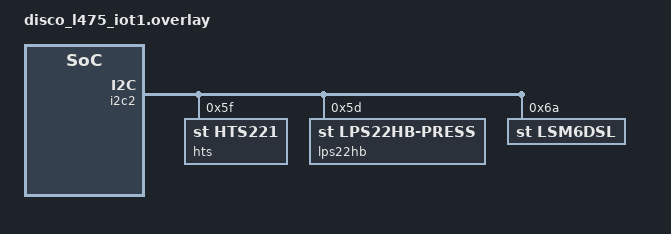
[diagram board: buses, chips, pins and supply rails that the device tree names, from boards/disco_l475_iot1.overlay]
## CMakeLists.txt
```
cmake_minimum_required(VERSION 3.20.0)
find_package(Zephyr REQUIRED HINTS $ENV{ZEPHYR_BASE})
project(msgq)

#include_directories(include)
target_sources(app PRIVATE src/main.c src/shell_threads.c src/fs_log.c src/htpg_sensors.c)
include_directories(include)
```

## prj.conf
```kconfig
CONFIG_MAIN_STACK_SIZE=8192

CONFIG_I2C=y
CONFIG_SENSOR=y
CONFIG_FPU=y
CONFIG_FPU_SHARING=y
CONFIG_PRINTK=y


CONFIG_CBPRINTF_FP_SUPPORT=y
CONFIG_LOG=y
CONFIG_LOG_MODE_DEFERRED=y
CONFIG_LOG_DEFAULT_LEVEL=3

CONFIG_SHELL=y

CONFIG_FLASH=y
CONFIG_FLASH_MAP=y
CONFIG_FILE_SYSTEM=y
CONFIG_FILE_SYSTEM_LITTLEFS=y
CONFIG_FILE_SYSTEM_SHELL=y
#CONFIG_DEBUG=y
#CONFIG_DEBUG_OPTIMIZATIONS=y     # -Og, keeps frames readable
#CONFIG_ASSERT=y
#CONFIG_THREAD_MONITOR=y
#CONFIG_THREAD_STACK_INFO=y
#CONFIG_INIT_STACKS=y
#CONFIG_THREAD_NAME=y

#CONFIG_PM=y
#CONFIG_PM_POLICY_DEFAULT=y
#CONFIG_TICKLESS_KERNEL=y
CONFIG_SERIAL=y
CONFIG_CONSOLE=y
CONFIG_UART_CONSOLE=y
CONFIG_LOG_BACKEND_UART=y


#CONFIG_SHELL_BACKEND_SERIAL=y
#CONFIG_UART_INTERRUPT_DRIVEN=y
```

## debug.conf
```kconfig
CONFIG_THREAD_MONITOR=y
CONFIG_THREAD_NAME=y
CONFIG_THREAD_STACK_INFO=y
```

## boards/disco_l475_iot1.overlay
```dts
/ {
        aliases {
                ht-sensor = &hts;
                pressure-sensor = &lps22hb;
                imu-sensor = &lsm6dsl;
        };
};
&flash0 {
        /delete-node/ partitions;

        partitions {
                compatible = "fixed-partitions";
                #address-cells = <1>;
                #size-cells = <1>;

                /* 0x00000000 .. 0x0000FFFF (64 KiB) */
                boot_partition: partition@0 {
                        label = "mcuboot";
                        reg = <0x00000000 0x00010000>;
                        read-only;
                };

                /* 0x00010000 .. 0x000EFFFF (832 KiB) */
                slot0_partition: partition@10000 {
                        label = "image-0";
                        reg = <0x00010000 0x000D0000>;
                };

                /* 0x000E0000 .. 0x000FFFFF (128 KiB) */
                app_lfs: partition@e0000 {
                        label = "app-lfs";
                        reg = <0x000E0000 0x00020000>;
                };
	};
};

&i2c2 {
        status = "okay";

        /* HTS221 @ 0x5F */
        hts: hts221@5f {
                compatible = "st,hts221";
                reg = <0x5f>;
                /* adjust to your actual DRDY pin if you want an IRQ */
                /* drdy-gpios = <&gpiod 15 GPIO_ACTIVE_HIGH>; */
                status = "okay";
        };

        /* LPS22HB @ 0x5D (some boards use 0x5C) */
        lps22hb: lps22hb-press@5d {
                compatible = "st,lps22hb-press";
                reg = <0x5d>;
                status = "okay";
        };
       /* LSM6DSL @ 0x6A (alt addr 0x6B) */
        lsm6dsl: lsm6dsl@6a {
                compatible = "st,lsm6dsl";
                reg = <0x6a>;
                /* irq-gpios = <&gpiod 11 GPIO_ACTIVE_HIGH>; */
                status = "okay";
        };
};


/* boards/<your_board>.overlay */

// / {
//	chosen {
//		zephyr,console = &usart1;
//		zephyr,shell-uart = &usart1;
//		zephyr,uart-mcumgr = &usart1;	/* if you use mcumgr */
//	};
//};

//&usart1 {
//	status = "okay";
//	current-speed = <115200>;
	/* your real pins here (PA9/PA10 are common on L4) */
//	pinctrl-0 = <&usart1_tx_pa9 &usart1_rx_pa10>;
//	pinctrl-names = "default";

	/* key bit: allow RX to wake the core from STOP */
//	wakeup-source;

	/* some STM32 families/instances also need an explicit EXTI line
	 * for STOP wake (only if your SoC binding requires it):
	 * wakeup-line = <5>;    // EXTI number example
	 */
//};
```

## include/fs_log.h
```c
#ifndef FS_LOG_H
#define FS_LOG_H

#include <zephyr/fs/fs.h>
#include <zephyr/fs/littlefs.h>
#include <zephyr/storage/flash_map.h>



void mount_sens();



#endif
```

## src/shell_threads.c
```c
/* shell_threads.c : independent periodic workers → msgq → 20s batched file writes
 *	- Each worker samples on its own interval and enqueues a preformatted line
 *	- Logger thread buffers queue items in RAM and appends them to LittleFS every 20 s
 */

#include "shell_threads.h"
#include <zephyr/kernel.h>
#include <zephyr/fs/fs.h>
#include <zephyr/fs/littlefs.h>
#include <zephyr/storage/flash_map.h>
#include <zephyr/logging/log.h>
#include <zephyr/shell/shell.h>
#include <string.h>
#include <stdbool.h>

LOG_MODULE_REGISTER(shell_threads);

/* ------------ config ------------ */
#define SENSOR_PATH			"/lfs/sensor.txt"

/* per-sensor sampling periods (tune as you like) */
#define HT_PERIOD_MS			2000		/* 2 s */
#define PRESS_PERIOD_MS			5000		/* 5 s */
#define IMU_PERIOD_MS			1000		/* 1 s */

/* batched file write period */
#define FLUSH_PERIOD_MS			20000		/* 20 s */

static k_tid_t                  hum_tid, press_tid, imu_tid, log_tid;
static struct k_thread          hum_thread_data, press_thread_data, imu_thread_data, log_thread_data;

static K_THREAD_STACK_DEFINE(hum_stack,   2048);
static K_THREAD_STACK_DEFINE(press_stack, 2048);
static K_THREAD_STACK_DEFINE(imu_stack,   2048);
static K_THREAD_STACK_DEFINE(log_stack,  2048);


/* ------------ semaphores (chain + control) ------------ */
K_SEM_DEFINE(semHT,     1, 1);          /* IMU -> HT */
K_SEM_DEFINE(semPress,  0, 1);          /* HT -> PRESS */
K_SEM_DEFINE(semGyro,   0, 1);          /* PRESS -> IMU */


/* ------------ shared data ------------ */
struct sensor_data {
        float           temp;
        float           hum;
        float           press;
        float           ax, ay, az;
        float           gx, gy, gz;
        bool            ht_ok;
        bool            press_ok;
        bool            imu_ok;
};
#define Q_DEPTH 30
K_MSGQ_DEFINE(msgq, 128, Q_DEPTH, 1);

static struct sensor_data       g_sd;
static struct k_mutex           g_sd_mtx;
/* parse helpers: your existing *_get_string() return formatted text.
 * Below we parse the few numbers we need. If you control those functions,
 * consider adding dedicated getters to avoid sscanf().
 */
static bool parse_ht(const char *s, float *t, float *h)
{
        /* expects: "Temperature: %.1f C, Humidity: %.1f %%\n" */
        return (sscanf(s, "Temperature: %f C, Humidity: %f %%", t, h) == 2);
}
static bool parse_press(const char *s, float *p)
{
        /* expects: "Pressure: %.1f kPa\n" */
        return (sscanf(s, "Pressure: %f", p) == 1);
}
static bool parse_imu(const char *s, float *ax, float *ay, float *az, float *gx, float *gy, float *gz)
{
        /* expects: "Accel: ax, ay, az | Gyro: gx, gy, gz\n" */
        return (sscanf(s, "Accel: %f, %f, %f | Gyro: %f, %f, %f", ax, ay, az, gx, gy, gz) == 6);
}
static inline void ts_now(uint32_t *sec, uint32_t *mms)
{
        uint64_t ms = k_uptime_get();
        *sec = (uint32_t)(ms / 1000U);
        *mms = (uint32_t)(ms % 1000U);
}

void hum_thread(void *a, void *b, void *c)
{
        char    buf[128];
	char 	out[128];
	uint32_t mms,sec;
		
        for (;;)
        {
                k_sem_take(&semHT, K_FOREVER);
		
		ts_now(&sec,&mms);
                bool    ok = false;
                if (hum_temp_sensor_get_string(buf, sizeof(buf)) > 0) {
                        float   t, h;
                        ok = parse_ht(buf, &t, &h);
			snprintf(out,sizeof(out),"[%lu.%03lu]:%s",sec,mms,buf);
                        if (ok) {
                                k_mutex_lock(&g_sd_mtx, K_FOREVER);
                                g_sd.temp = t;
                                g_sd.hum  = h;
                                g_sd.ht_ok = true;
				k_msgq_put(&msgq,out,K_FOREVER);
                                k_mutex_unlock(&g_sd_mtx);
                        }
                }
               if (!ok) {
                        k_mutex_lock(&g_sd_mtx, K_FOREVER);
                        g_sd.ht_ok = false;
			LOG_ERR("HT read failed!");
                        k_mutex_unlock(&g_sd_mtx);
                }

                k_sem_give(&semPress);
		k_msleep(HT_PERIOD_MS);
        }
}

void press_thread(void *a, void *b, void *c)
{
        char    buf[128];
	char 	out[128];

	uint32_t mms,sec;
        for (;;)
        {
                k_sem_take(&semPress, K_FOREVER);

		ts_now(&sec,&mms);
                bool    ok = false;
                if (pressure_sensor_get_string(buf, sizeof(buf)) > 0) {
                        float   p;
                        ok = parse_press(buf, &p);
			snprintf(out,sizeof(out),"[%lu.%03lu]:%s",sec,mms,buf);
                        if (ok) {
                                k_mutex_lock(&g_sd_mtx, K_FOREVER);
                                g_sd.press = p;
                                g_sd.press_ok = true;
				k_msgq_put(&msgq,out,K_FOREVER);
                                k_mutex_unlock(&g_sd_mtx);
                        }
                }
	        if (!ok) {
                k_mutex_lock(&g_sd_mtx, K_FOREVER);
                g_sd.press_ok = false;
		LOG_ERR("Press read failed!");
                k_mutex_unlock(&g_sd_mtx);
                }

                k_sem_give(&semGyro);
		k_msleep(PRESS_PERIOD_MS);
        }
}
void imu_thread(void *a, void *b, void *c)
{
        char    buf[128];
	char 	out[128];
	
	uint32_t mms,sec;

        for (;;)
        {
                k_sem_take(&semGyro, K_FOREVER);

		ts_now(&sec,&mms);
                bool    ok = false;
                if (imu_sensor_get_string(buf, sizeof(buf)) > 0) {
                        float   ax, ay, az, gx, gy, gz;
                        ok = parse_imu(buf, &ax, &ay, &az, &gx, &gy, &gz);
			snprintf(out,sizeof(out),"[%lu.%03lu]:%s",sec,mms,buf);
                        if (ok) {
                                k_mutex_lock(&g_sd_mtx, K_FOREVER);
                                g_sd.ax = ax; g_sd.ay = ay; g_sd.az = az;
                                g_sd.gx = gx; g_sd.gy = gy; g_sd.gz = gz;
                                g_sd.imu_ok = true;
				k_msgq_put(&msgq,out,K_FOREVER);
                                k_mutex_unlock(&g_sd_mtx);
                        }
                }

                if (!ok) {
                        k_mutex_lock(&g_sd_mtx, K_FOREVER);
                        g_sd.imu_ok = false;
			LOG_ERR("Imu read failed!");
                        k_mutex_unlock(&g_sd_mtx);
                }
                k_sem_give(&semHT);
		k_msleep(IMU_PERIOD_MS);
        }
}
void log_thread(void *a, void *b, void *c)
{
	struct fs_file_t        file;
	char 			line[128];
	size_t 			n;
	uint32_t 		sec, mms; 
	uint32_t		message_num;	
	ts_now(&sec, &mms);

	for(;;)
	{
		k_msleep(FLUSH_PERIOD_MS);
		k_mutex_lock(&g_sd_mtx,K_FOREVER);

		while((message_num=k_msgq_num_used_get(&msgq))>0)
		{
			fs_file_t_init(&file);
			k_msgq_get(&msgq,&line,K_FOREVER);
			n=strlen(line)+1;
			if (fs_open(&file, SENSOR_PATH, FS_O_CREATE | FS_O_WRITE | FS_O_APPEND) == 0)
			{
				fs_write(&file, line, (size_t)n);
				fs_close(&file);
			}
		}
		k_mutex_unlock(&g_sd_mtx);
	}

}

static int cmd_start_sensor(const struct shell *sh, size_t argc, char **argv)
{
        ARG_UNUSED(argc); ARG_UNUSED(argv);

        if (!hum_tid) {
                k_mutex_init(&g_sd_mtx);
                memset(&g_sd, 0, sizeof(g_sd));

                hum_tid = k_thread_create(&hum_thread_data, hum_stack,
                        K_THREAD_STACK_SIZEOF(hum_stack),
                        hum_thread, NULL, NULL, NULL, 5, 0, K_NO_WAIT);
                shell_print(sh, "HT worker started.");
        }
        if (!press_tid) {
                press_tid = k_thread_create(&press_thread_data, press_stack,
                        K_THREAD_STACK_SIZEOF(press_stack),
                        press_thread, NULL, NULL, NULL, 5, 0, K_NO_WAIT);
                shell_print(sh, "PRESS worker started.");
        }
        if (!imu_tid) {
                imu_tid = k_thread_create(&imu_thread_data, imu_stack,
                        K_THREAD_STACK_SIZEOF(imu_stack),
                        imu_thread, NULL, NULL, NULL, 5, 0, K_NO_WAIT);
                shell_print(sh, "IMU worker started.");
        }
	if (!log_tid) {
		log_tid = k_thread_create(&log_thread_data, log_stack,
				K_THREAD_STACK_SIZEOF(log_stack),
				log_thread, NULL, NULL, NULL, 4, 0, K_NO_WAIT);
		shell_print(sh, "Loggerr started (period=%d ms).", FLUSH_PERIOD_MS);
	}

	return 0;
}
static int cmd_stop_sensors(const struct shell *sh, size_t argc, char **argv)
{
        ARG_UNUSED(argc); ARG_UNUSED(argv);

        if (log_tid) { k_thread_abort(log_tid); log_tid = NULL; shell_print(sh, "logger stopped."); }
        if (hum_tid)   { k_thread_abort(hum_tid);   hum_tid   = NULL; shell_print(sh, "HT worker stopped."); }
        if (press_tid) { k_thread_abort(press_tid); press_tid = NULL; shell_print(sh, "PRESS worker stopped."); }
        if (imu_tid)   { k_thread_abort(imu_tid);   imu_tid   = NULL; shell_print(sh, "IMU worker stopped."); }

        /* drain sems for a clean next start */
        while (k_sem_count_get(&semHT)    > 0) k_sem_take(&semHT,    K_NO_WAIT);
        while (k_sem_count_get(&semPress) > 0) k_sem_take(&semPress, K_NO_WAIT);
        while (k_sem_count_get(&semGyro)  > 0) k_sem_take(&semGyro,  K_NO_WAIT);

        return 0;
}
static int cmd_clear_logs(const struct shell *shell, size_t argc, char **argv)
{
        ARG_UNUSED(argc); ARG_UNUSED(argv);

        int ret = fs_unlink(SENSOR_PATH);
        if (ret < 0 && ret != -ENOENT) {
                shell_fprintf(shell, SHELL_ERROR, "Failed to remove %s (%d)\n", SENSOR_PATH, ret);
                return ret;
        }
        shell_fprintf(shell, SHELL_NORMAL, "Log cleared: %s\n", SENSOR_PATH);
        return 0;
}

SHELL_STATIC_SUBCMD_SET_CREATE(sub_sensors,
        SHELL_CMD(start_sensors,        NULL, "Start periodic sensor logging",  cmd_start_sensor),
        SHELL_CMD(stop_sensors,         NULL, "Stop sensor logging",            cmd_stop_sensors),
        SHELL_CMD(clear_logs,           NULL, "Clear sensor log file",          cmd_clear_logs),
        SHELL_SUBCMD_SET_END
);
SHELL_CMD_REGISTER(sensors, &sub_sensors, "Sensor logging commands", NULL);
```
